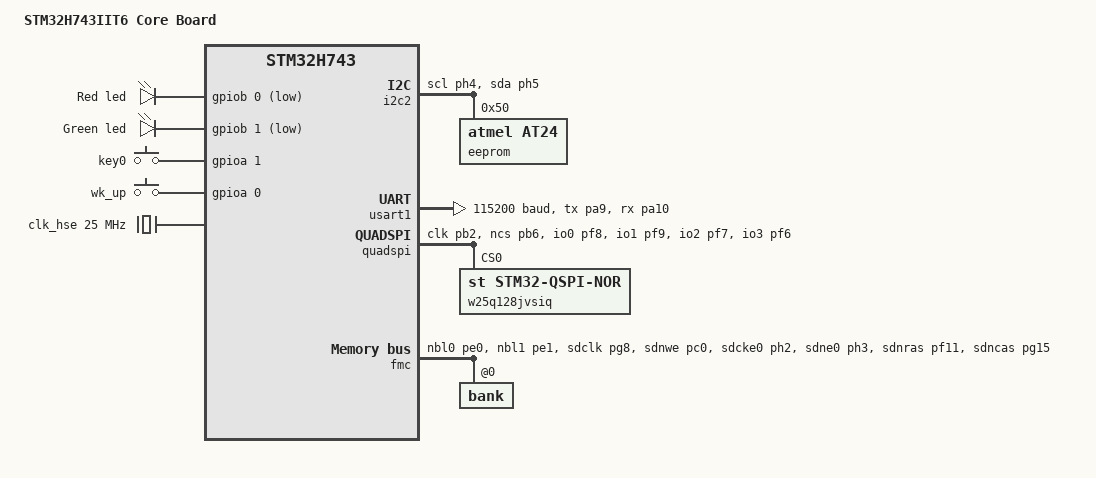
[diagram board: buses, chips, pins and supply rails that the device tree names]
/*
 * Copyright (c) 2026 Davi Alexandre Volcan <davi.volcan2@gmail.com>
 *
 * SPDX-License-Identifier: Apache-2.0
 */

/dts-v1/;
#include <st/h7/stm32h743Xi.dtsi>
#include <st/h7/stm32h743xihx-pinctrl.dtsi>
#include <zephyr/dt-bindings/input/input-event-codes.h>

/ {
	model = "STM32H743IIT6 Core Board";
	compatible = "st,stm32h743_coreboard";

	chosen {
		zephyr,console = &usart1;
		zephyr,shell-uart = &usart1;
		zephyr,sram = &sram0;
		zephyr,flash = &flash0;
	};

	leds {
		compatible = "gpio-leds";

		user_led0: led_0 {
			gpios = <&gpiob 0 GPIO_ACTIVE_LOW>;
			label = "Red led";
		};

		user_led1: led_1 {
			gpios = <&gpiob 1 GPIO_ACTIVE_LOW>;
			label = "Green led";
		};

	};

	gpio_keys {
		compatible = "gpio-keys";

		user_button0: key0 {
			label = "key0";
			gpios = <&gpioa 1 (GPIO_PULL_DOWN | GPIO_ACTIVE_HIGH)>;
			zephyr,code = <INPUT_KEY_0>;
		};

		user_button1: wk_up {
			label = "wk_up";
			gpios = <&gpioa 0 (GPIO_PULL_DOWN | GPIO_ACTIVE_HIGH)>;
			zephyr,code = <INPUT_KEY_0>;
		};

	};

	aliases {
		led0 = &user_led0;
		led1 = &user_led1;
		sw0 = &user_button0;
		eeprom-0 = &eeprom;
	};

	sdram1: sdram@c0000000 {
		compatible = "zephyr,memory-region";
		//		device_type = "memory";
		reg = <0xc0000000 DT_SIZE_M(32)>;
		zephyr,memory-region = "SDRAM1";
		zephyr,memory-attr = <DT_MEM_ARM(ATTR_MPU_RAM)>;

	};

};

&i2c2 {
	status = "okay";
	pinctrl-0 = <&i2c2_scl_ph4 &i2c2_sda_ph5>;
	pinctrl-names = "default";

	eeprom: eeprom@50 {
		compatible = "atmel,at24";
		reg = <0x50>;
		size = <DT_SIZE_K(2)>;
		pagesize = <8>;
		address-width = <8>;
		timeout = <5>;
	};

};

&usart1 {
	status = "okay";
	current-speed = <115200>;
	pinctrl-0 = <&usart1_tx_pa9 &usart1_rx_pa10>;
	pinctrl-names = "default";
};

&quadspi {
	pinctrl-0 = <&quadspi_clk_pb2 &quadspi_bk1_ncs_pb6
		     &quadspi_bk1_io0_pf8 &quadspi_bk1_io1_pf9
		     &quadspi_bk1_io2_pf7 &quadspi_bk1_io3_pf6>;
	pinctrl-names = "default";
	status = "okay";

	w25q128jvsiq: qspi-nor-flash@0 {
		compatible = "st,stm32-qspi-nor";
		reg = <0>;
		size = <DT_SIZE_M(128)>;
		qspi-max-frequency = <133000000>;
		cs-high-time = <7>;
		status = "okay";
	};
};

&fmc {
	pinctrl-0 = <&fmc_nbl0_pe0 &fmc_nbl1_pe1
	             &fmc_sdclk_pg8 &fmc_sdnwe_pc0 &fmc_sdcke0_ph2
	             &fmc_sdne0_ph3 &fmc_sdnras_pf11 &fmc_sdncas_pg15
	             &fmc_a0_pf0 &fmc_a1_pf1 &fmc_a2_pf2 &fmc_a3_pf3 &fmc_a4_pf4
	             &fmc_a5_pf5 &fmc_a6_pf12 &fmc_a7_pf13 &fmc_a8_pf14
	             &fmc_a9_pf15 &fmc_a10_pg0 &fmc_a11_pg1 &fmc_a12_pg2
	             &fmc_a14_pg4 &fmc_a15_pg5 &fmc_d0_pd14 &fmc_d1_pd15
	             &fmc_d2_pd0 &fmc_d3_pd1 &fmc_d4_pe7 &fmc_d5_pe8 &fmc_d6_pe9
	             &fmc_d7_pe10 &fmc_d8_pe11 &fmc_d9_pe12 &fmc_d10_pe13
	             &fmc_d11_pe14 &fmc_d12_pe15 &fmc_d13_pd8 &fmc_d14_pd9
	             &fmc_d15_pd10>;
	pinctrl-names = "default";
	status = "okay";

	sdram {
		status = "okay";
		power-up-delay = <200>;
		num-auto-refresh = <8>;
		mode-register = <0x220>;
		refresh-rate = <2078>;

		bank@0 {
			reg = <0>;
			st,sdram-control = <STM32_FMC_SDRAM_NC_9
			                    STM32_FMC_SDRAM_NR_13
			                    STM32_FMC_SDRAM_MWID_16
			                    STM32_FMC_SDRAM_NB_4
			                    STM32_FMC_SDRAM_CAS_2
			                    STM32_FMC_SDRAM_SDCLK_PERIOD_2
			                    STM32_FMC_SDRAM_RBURST_ENABLE
			                    STM32_FMC_SDRAM_RPIPE_0>;
			st,sdram-timing = <2 10 6 8 2 2 2>;
		};
	};
};

&clk_hse {
	clock-frequency = <DT_FREQ_M(25)>;
	status = "okay";
};

&pll {
	div-m = <5>;
	mul-n = <192>;
	div-p = <2>;
	div-q = <4>;
	div-r = <4>;
	clocks = <&clk_hse>;
	status = "okay";
};

&pll3 {
	div-m = <2>;
	mul-n = <12>;
	div-p = <2>;
	div-q = <2>;
	div-r = <15>;
	clocks = <&clk_hse>;
	status = "okay";
};

&rcc {
	clocks = <&pll>;
	clock-frequency = <DT_FREQ_M(480)>;
	d1cpre = <1>;
	hpre = <2>;
	d1ppre = <2>;
	d2ppre1 = <2>;
	d2ppre2 = <2>;
	d3ppre = <2>;
};

&pwr {
	power-supply = "ldo";
};
